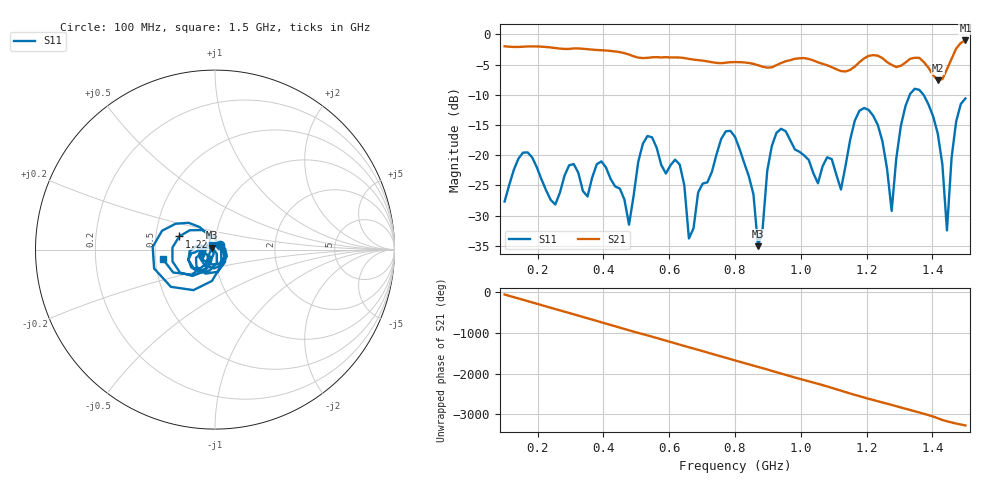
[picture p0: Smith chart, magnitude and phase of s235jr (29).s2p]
! NanoVNA-App
! Date: 2025-09-26 09:45:01
! Start: 100MHz Stop: 1,5GHz Points: 101
! S-Parameter data: F S11 S21 S12 S22
# Hz S RI R 50
!  Frequency  S11_Real  S11_Imag  S21_Real  S21_Imag  S12_Real  S12_Imag  S22_Real  S22_Imag
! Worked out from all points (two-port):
!   101 points, 100 MHz to 1.5 GHz, reference 50 ohm
!   highest |S21| = -0.99 dB at 1.5 GHz (marker M1); lowest = -7.6 dB at 1.416 GHz (marker M2)
!   |S21| within 3 dB of the highest: start of sweep to 654.6 MHz; 1.192 GHz to 1.249 GHz (57.94 MHz wide, 4.75 % of centre) (the widest 2 of 5)
!   lowest |S11| = -35.1 dB at 870 MHz (marker M3), VSWR 1.04, Z = 48.5 + j0.958 ohm
!   |S11| at or under -10 dB: start of sweep to 1.331 GHz; 1.373 GHz to end of sweep
!   S12 and S22 are empty: the file has one direction only
!   S11 on the Smith chart (normalised r, x): 100 MHz: 1.06, +0.06; 1.22 GHz: 0.66, +0.10; 1.5 GHz: 0.55, -0.06
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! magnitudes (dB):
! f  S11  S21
! 100 MHz  -27.7  -2.0
! 156 MHz  -19.6  -2.0
! 338 MHz  -25.9  -2.4
! 394 MHz  -21.0  -2.6
! 478 MHz  -31.5  -3.3
! 520 MHz  -18.1  -3.9
! 576 MHz  -21.6  -3.8
! 632 MHz  -21.6  -3.8
! 660 MHz  -33.8  -4.0
! 800 MHz  -17.0  -4.6
! 870 MHz  -35.1  -5.1
! 926 MHz  -16.3  -5.1
! 1.038 GHz  -23.0  -4.3
! 1.122 GHz  -25.7  -6.1
! 1.164 GHz  -14.3  -5.3
! 1.22 GHz  -13.5  -3.4
! 1.276 GHz  -29.2  -5.0
! 1.332 GHz  -9.9  -4.0
! 1.416 GHz  -16.4  -7.6
! 1.444 GHz  -32.5  -5.8
! 1.472 GHz  -14.4  -2.3
! 1.5 GHz  -10.6  -1.0
